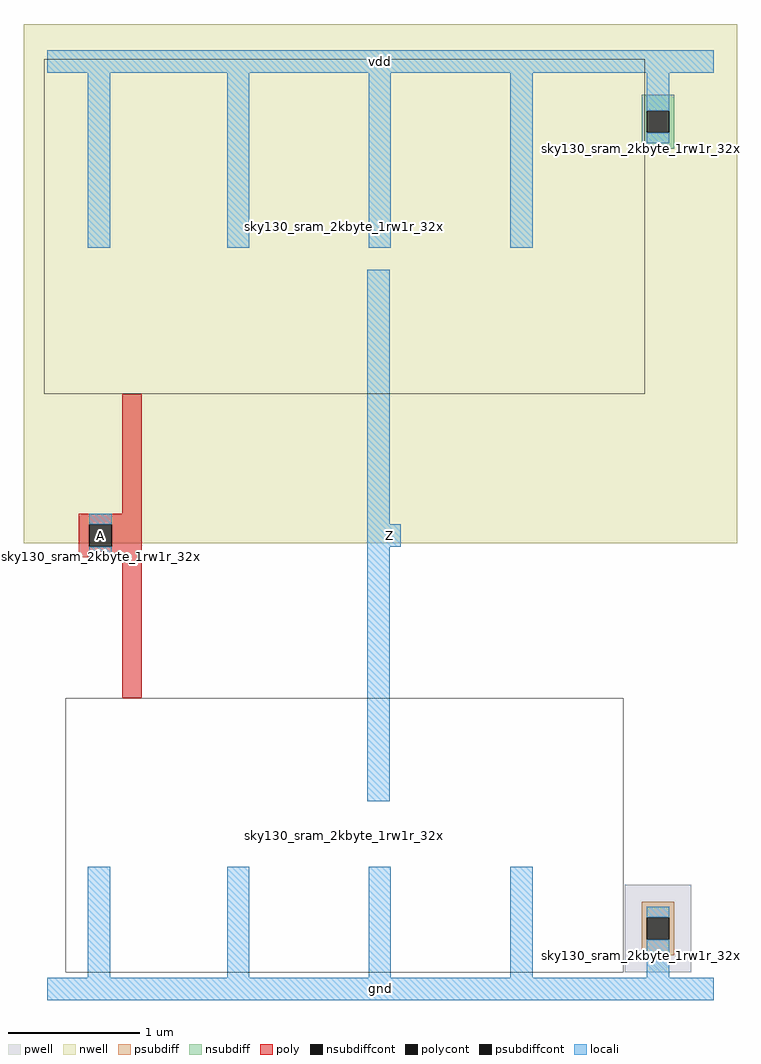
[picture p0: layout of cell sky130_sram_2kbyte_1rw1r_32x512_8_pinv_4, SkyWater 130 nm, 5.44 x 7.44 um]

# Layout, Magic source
magic
tech sky130A
magscale 1 2
<< nwell >>
rect -36 679 1052 1471
<< pwell >>
rect 880 25 982 159
<< psubdiff >>
rect 906 109 956 133
rect 906 75 914 109
rect 948 75 956 109
rect 906 51 956 75
<< nsubdiff >>
rect 906 1339 956 1363
rect 906 1305 914 1339
rect 948 1305 956 1339
rect 906 1281 956 1305
<< psubdiffcont >>
rect 914 75 948 109
<< nsubdiffcont >>
rect 914 1305 948 1339
<< poly >>
rect 114 724 144 907
rect 48 708 144 724
rect 48 674 64 708
rect 98 674 144 708
rect 48 658 144 674
rect 114 443 144 658
<< polycont >>
rect 64 674 98 708
<< locali >>
rect 0 1397 1016 1431
rect 62 1130 96 1397
rect 274 1130 308 1397
rect 490 1130 524 1397
rect 706 1130 740 1397
rect 914 1339 948 1397
rect 914 1289 948 1305
rect 64 708 98 724
rect 64 658 98 674
rect 488 708 522 1096
rect 488 674 539 708
rect 488 286 522 674
rect 62 17 96 186
rect 274 17 308 186
rect 490 17 524 186
rect 706 17 740 186
rect 914 109 948 125
rect 914 17 948 75
rect 0 -17 1016 17
use sky130_sram_2kbyte_1rw1r_32x512_8_contact_16  sky130_sram_2kbyte_1rw1r_32x512_8_contact_16_0
transform 1 0 48 0 1 658
box 0 0 1 1
use sky130_sram_2kbyte_1rw1r_32x512_8_contact_29  sky130_sram_2kbyte_1rw1r_32x512_8_contact_29_0
transform 1 0 906 0 1 51
box 0 0 1 1
use sky130_sram_2kbyte_1rw1r_32x512_8_contact_28  sky130_sram_2kbyte_1rw1r_32x512_8_contact_28_0
transform 1 0 906 0 1 1281
box 0 0 1 1
use sky130_sram_2kbyte_1rw1r_32x512_8_nmos_m7_w1_680_sli_dli_da_p  sky130_sram_2kbyte_1rw1r_32x512_8_nmos_m7_w1_680_sli_dli_da_p_0
transform 1 0 54 0 1 51
box -26 -26 824 392
use sky130_sram_2kbyte_1rw1r_32x512_8_pmos_m7_w2_000_sli_dli_da_p  sky130_sram_2kbyte_1rw1r_32x512_8_pmos_m7_w2_000_sli_dli_da_p_0
transform 1 0 54 0 1 963
box -59 -56 857 454
<< labels >>
rlabel locali s 81 691 81 691 4 A
port 1 nsew
rlabel locali s 522 691 522 691 4 Z
port 2 nsew
rlabel locali s 508 0 508 0 4 gnd
port 3 nsew
rlabel locali s 508 1414 508 1414 4 vdd
port 4 nsew
<< properties >>
string FIXED_BBOX 0 0 1016 1414
string GDS_FILE $PDKPATH/libs.ref/sky130_sram_macros/gds/sky130_sram_2kbyte_1rw1r_32x512_8.gds
string GDS_END 129572
string GDS_START 127318
<< end >>
